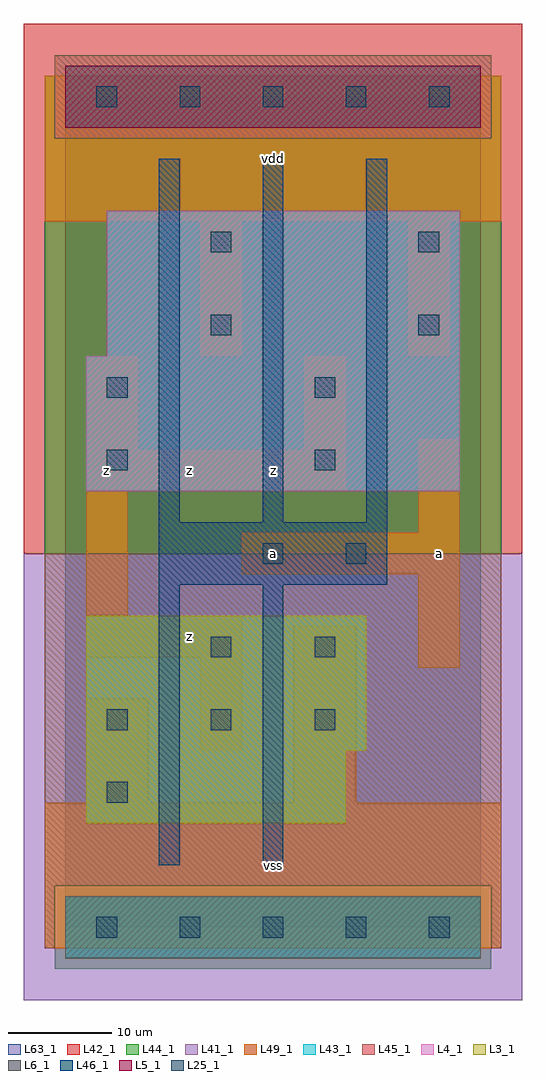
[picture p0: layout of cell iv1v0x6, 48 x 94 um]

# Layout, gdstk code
import gdstk
lib = gdstk.Library(unit=1e-6, precision=1e-09)
def R(c, l, rs):  # rectangles x0, y0, x1, y1
    for r in rs: c.add(gdstk.rectangle(r[:2], r[2:], *l))
def A(c, l, x, y, w, h, nx, ny, dx, dy):  # array of equal rectangles
    R(c, l, [(x+i*dx, y+j*dy, x+i*dx+w, y+j*dy+h) for i in range(nx) for j in range(ny)])
L3_1 = (3, 1)
L4_1 = (4, 1)
L5_1 = (5, 1)
L6_1 = (6, 1)
L25_1 = (25, 1)
L41_1 = (41, 1)
L42_1 = (42, 1)
L43_1 = (43, 1)
L44_1 = (44, 1)
L45_1 = (45, 1)
L46_1 = (46, 1)
L49_1 = (49, 1)
L63_1 = (63, 1)

iv1v0x6 = lib.new_cell('iv1v0x6')
R(iv1v0x6, L3_1, [(2,10,27,17), (2,17,29,30)])
R(iv1v0x6, L4_1, [(2,42,38,55), (4,55,38,69)])
R(iv1v0x6, L5_1, [(0,77,40,83)])
R(iv1v0x6, L6_1, [(0,-3,40,3), (0,-3,40,3)])
A(iv1v0x6, L25_1, 3, -1, 2, 2, 5, 2, 8, 80)
A(iv1v0x6, L25_1, 4, 19, 2, 2, 3, 1, 10, 0)
R(iv1v0x6, L25_1, [(4,12,6,14), (14,26,16,28), (24,26,26,28), (19,35,21,37), (27,35,29,37), (4,44,6,46), (24,44,26,46), (4,51,6,53), (24,51,26,53), (14,57,16,59), (34,57,36,59), (14,65,16,67), (34,65,36,67)])
R(iv1v0x6, L41_1, [(-4,-7,44,36)])
R(iv1v0x6, L42_1, [(-4,36,44,87)])
R(iv1v0x6, L43_1, [(0,-3,40,3), (2,10,27,17), (2,17,29,30), (2,42,38,55), (4,55,38,69), (0,77,40,83)])
R(iv1v0x6, L44_1, [(-1,-4,41,4), (-2,36,42,76), (-2,76,-1,82), (41,76,42,82)])
R(iv1v0x6, L45_1, [(-2,-2,-1,4), (41,-2,42,4), (-2,4,42,36), (-1,76,41,84)])
A(iv1v0x6, L46_1, 9, 39, 2, 35, 3, 1, 10, 0)
R(iv1v0x6, L46_1, [(9,6,11,33), (19,6,21,33), (9,33,31,39)])
R(iv1v0x6, L49_1, [(-2,-2,42,12), (2,12,8,22), (22,12,28,29), (13,17,17,26), (34,25,38,34), (2,26,17,30), (2,30,6,42), (17,34,38,38), (34,38,38,47), (2,42,27,46), (2,46,7,55), (23,46,27,55), (13,55,17,68), (33,55,37,68), (-2,68,42,82)])
R(iv1v0x6, L63_1, [(0,0,40,80)])
iv1v0x6.add(gdstk.Label('z', (4,44), layer=49, texttype=1))
iv1v0x6.add(gdstk.Label('z', (12,28), layer=49, texttype=1))
iv1v0x6.add(gdstk.Label('z', (12,44), layer=49, texttype=1))
iv1v0x6.add(gdstk.Label('vss', (20,6), layer=49, texttype=1))
iv1v0x6.add(gdstk.Label('a', (20,36), layer=49, texttype=1))
iv1v0x6.add(gdstk.Label('z', (20,44), layer=49, texttype=1))
iv1v0x6.add(gdstk.Label('vdd', (20,74), layer=49, texttype=1))
iv1v0x6.add(gdstk.Label('a', (36,36), layer=49, texttype=1))

lib.write_gds('iv1v0x6.gds')
